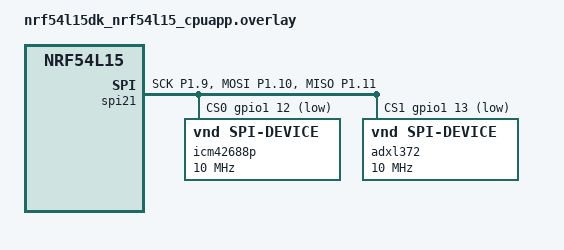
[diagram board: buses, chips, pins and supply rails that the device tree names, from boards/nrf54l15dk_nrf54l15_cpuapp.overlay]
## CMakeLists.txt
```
cmake_minimum_required(VERSION 3.20.0)
find_package(Zephyr REQUIRED HINTS $ENV{ZEPHYR_BASE})
project(spoton)

target_sources(app PRIVATE
    src/main.c
)
```

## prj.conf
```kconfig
# SpotOn — Phase 0 Configuration
# Target: nRF54L15-DK

# Logging
CONFIG_LOG=y
CONFIG_LOG_DEFAULT_LEVEL=3
CONFIG_LOG_BACKEND_UART=y

# GPIO (LED)
CONFIG_GPIO=y

# SPI (dual sensor bus — ICM-42688-P + ADXL372)
CONFIG_SPI=y
```

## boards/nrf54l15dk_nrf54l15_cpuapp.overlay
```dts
/*
 * SpotOn — Phase 0 Device Tree Overlay
 * Board: nRF54L15-DK (nrf54l15dk/nrf54l15/cpuapp)
 *
 * SPI bus: SPIM21 on Port 1 (avoids UART20 conflict on SPIM20,
 *          avoids QSPI flash solder bridges on Port 2/SPIM00)
 *
 * Pin assignments (from Nordic DevZone validated examples):
 *   SCK  = P1.09  (clock pin for SPIM21 — validated from Nordic DevZone example)
 *   MOSI = P1.10
 *   MISO = P1.11
 *   CS0  = P1.12  (ICM-42688-P)
 *   CS1  = P1.13  (ADXL372)
 *
 * Interrupts:
 *   INT0 = P1.14  (ICM-42688-P INT1 — FIFO watermark)
 *   INT1 = P1.15  (ADXL372 INT1 — FIFO watermark)
 *
 * LED: uses DK onboard LED0 (already defined in DK devicetree)
 *
 * SPI Mode 0 (CPOL=0, CPHA=0) — compatible with both sensors.
 * Bus speed: 10MHz (limited by ADXL372 max SPI speed).
 *
 * TODO(Phase 0 bring-up): Verify actual SPI clock with logic analyzer.
 *   If SPIM21 cannot achieve 10MHz on Port 1, move to SPIM20 on Port 0
 *   (requires disabling UART20 or remapping console to different peripheral).
 */

&pinctrl {
	spi21_default: spi21_default {
		group1 {
			psels = <NRF_PSEL(SPIM_SCK, 1, 9)>,
				<NRF_PSEL(SPIM_MOSI, 1, 10)>,
				<NRF_PSEL(SPIM_MISO, 1, 11)>;
		};
	};

	spi21_sleep: spi21_sleep {
		group1 {
			psels = <NRF_PSEL(SPIM_SCK, 1, 9)>,
				<NRF_PSEL(SPIM_MOSI, 1, 10)>,
				<NRF_PSEL(SPIM_MISO, 1, 11)>;
			low-power-enable;
		};
	};
};

&spi21 {
	compatible = "nordic,nrf-spim";
	status = "okay";
	pinctrl-0 = <&spi21_default>;
	pinctrl-1 = <&spi21_sleep>;
	pinctrl-names = "default", "sleep";
	cs-gpios = <&gpio1 12 GPIO_ACTIVE_LOW>,   /* CS0: ICM-42688-P */
		   <&gpio1 13 GPIO_ACTIVE_LOW>;   /* CS1: ADXL372 */

	/* ICM-42688-P — 6-axis IMU (vibration analysis + gyro)
	 * Raw SPI (Option A): Zephyr driver not used due to FIFO bugs (#84833)
	 * and missing AAF Bank 2 configuration support. */
	icm42688p: icm42688p@0 {
		compatible = "vnd,spi-device";
		reg = <0>;
		spi-max-frequency = <10000000>;
	};

	/* ADXL372 — High-g accelerometer (impact capture)
	 * Raw SPI (Option A): Zephyr driver lacks FIFO watermark trigger. */
	adxl372: adxl372@1 {
		compatible = "vnd,spi-device";
		reg = <1>;
		spi-max-frequency = <10000000>;
	};
};
```

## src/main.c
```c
/*
 * SpotOn — Main Entry Point (Phase 0)
 *
 * Phase 0: Blinky + log output to verify toolchain and DK connection.
 * Future phases add sensor threads, ML, state machine, BLE.
 */

#include <zephyr/kernel.h>
#include <zephyr/device.h>
#include <zephyr/drivers/gpio.h>
#include <zephyr/logging/log.h>

#include "config.h"

LOG_MODULE_REGISTER(spoton, LOG_LEVEL_INF);

/* LED0 from devicetree (DK onboard LED) */
static const struct gpio_dt_spec led = GPIO_DT_SPEC_GET(DT_ALIAS(led0), gpios);

int main(void)
{
	int ret;

	LOG_INF("SpotOn Phase 0 — project scaffold");
	LOG_INF("Board: %s", CONFIG_BOARD_TARGET);

	/* Init LED */
	if (!gpio_is_ready_dt(&led)) {
		LOG_ERR("LED device not ready");
		return -ENODEV;
	}

	ret = gpio_pin_configure_dt(&led, GPIO_OUTPUT_ACTIVE);
	if (ret < 0) {
		LOG_ERR("Failed to configure LED: %d", ret);
		return ret;
	}

	LOG_INF("LED initialized, starting blink loop");

	/* Blink loop — confirms DK is alive and serial output works */
	while (1) {
		gpio_pin_toggle_dt(&led);
		k_sleep(K_MSEC(500));
	}

	return 0;
}
```

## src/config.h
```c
/*
 * SpotOn — Project Configuration
 *
 * Constants, thresholds, and compile-time configuration.
 * Hardware-specific values (pins, peripherals) are in the device tree overlay.
 */

#ifndef SPOTON_CONFIG_H
#define SPOTON_CONFIG_H

/* Sensor ODR */
#define SPOTON_SENSOR_ODR_HZ        800

/* Impact detection */
#define SPOTON_IMPACT_THRESHOLD_MG  30000   /* 30g — ADXL372 threshold */
#define SPOTON_IMPACT_DEBOUNCE_MS   500     /* Ignore impacts within this window */

/* State machine timeouts */
#define SPOTON_ARMED_TIMEOUT_MS     (2 * 60 * 1000)   /* 2 min no impact → SLEEP */
#define SPOTON_ACTIVE_TIMEOUT_MS    (5 * 60 * 1000)   /* 5 min no impact → end session */

/* SPI bus speed (limited by ADXL372 max 10MHz) */
#define SPOTON_SPI_FREQ_HZ          10000000

/* ICM-42688-P registers (Bank 0) */
#define ICM42688_REG_WHO_AM_I       0x75
#define ICM42688_WHO_AM_I_VALUE     0x47
#define ICM42688_REG_PWR_MGMT0     0x4E
#define ICM42688_REG_GYRO_CONFIG0  0x4F
#define ICM42688_REG_ACCEL_CONFIG0 0x50
#define ICM42688_REG_FIFO_CONFIG   0x16
#define ICM42688_REG_FIFO_CONFIG1  0x5F
#define ICM42688_REG_INT_STATUS    0x2D
#define ICM42688_REG_FIFO_COUNTH   0x2E
#define ICM42688_REG_FIFO_COUNTL   0x2F
#define ICM42688_REG_FIFO_DATA     0x30
#define ICM42688_REG_BANK_SEL      0x76

/* ADXL372 registers */
#define ADXL372_REG_DEVID_AD       0x00
#define ADXL372_DEVID_AD_VALUE     0xAD
#define ADXL372_REG_DEVID_MST      0x01
#define ADXL372_REG_PARTID         0x02
#define ADXL372_PARTID_VALUE       0xFA
#define ADXL372_REG_STATUS         0x04
#define ADXL372_REG_FIFO_CTL       0x3A
#define ADXL372_REG_TIMING         0x3D
#define ADXL372_REG_MEASURE        0x3F

#endif /* SPOTON_CONFIG_H */
```

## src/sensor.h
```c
/*
 * SpotOn — Dual Sensor Driver (Raw SPI)
 *
 * ICM-42688-P (6-axis IMU) + ADXL372 (high-g accelerometer)
 * Both on shared SPI bus (SPIM21), separate CS lines.
 *
 * Architecture: Raw SPI register access (Option A).
 * Zephyr upstream drivers not used because:
 *   - ADXL372 driver lacks FIFO watermark trigger
 *   - ICM42688 driver has known bugs (#84833, #88846)
 *   - ICM42688 AAF Bank 2 config not supported by driver
 */

#ifndef SPOTON_SENSOR_H
#define SPOTON_SENSOR_H

#include <zephyr/kernel.h>
#include <zephyr/device.h>
#include <zephyr/drivers/spi.h>
#include <zephyr/drivers/gpio.h>

/* ICM-42688-P FIFO packet (16-bit mode, accel+gyro+header) */
struct icm42688_fifo_packet {
	uint8_t header;
	int16_t accel[3];   /* XYZ, ±16g, 2048 LSB/g */
	int16_t gyro[3];    /* XYZ, ±2000dps, 16.4 LSB/dps */
	uint8_t temp;       /* Temperature (optional, verify DS-000347 §5.2) */
} __packed;

/* ADXL372 FIFO sample (3-axis, normal mode) */
struct adxl372_fifo_sample {
	int16_t accel[3];   /* XYZ, ±200g, 100mg/LSB */
} __packed;

/*
 * Sensor initialization.
 * Configures SPI bus, reads WHO_AM_I/DEVID, sets ODR/range/FIFO/AAF.
 * Returns 0 on success, negative errno on failure.
 */
int sensor_init(void);

/*
 * ICM-42688-P operations.
 */
int icm42688_read_reg(uint8_t reg, uint8_t *val);
int icm42688_write_reg(uint8_t reg, uint8_t val);
int icm42688_read_who_am_i(uint8_t *id);
int icm42688_configure(void);          /* ODR, range, FIFO, AAF */
int icm42688_read_fifo_count(uint16_t *count);
int icm42688_read_fifo(struct icm42688_fifo_packet *buf, uint16_t max_packets,
		       uint16_t *packets_read);

/*
 * ADXL372 operations.
 */
int adxl372_read_reg(uint8_t reg, uint8_t *val);
int adxl372_write_reg(uint8_t reg, uint8_t val);
int adxl372_read_devid(uint8_t *id);
int adxl372_configure(void);           /* ODR, bandwidth, FIFO, normal mode */
int adxl372_read_fifo_count(uint16_t *count);
int adxl372_read_fifo(struct adxl372_fifo_sample *buf, uint16_t max_samples,
		      uint16_t *samples_read);

/*
 * Interrupt status checks (called from sensor_thread after semaphore wake).
 */
bool icm42688_fifo_overflow(void);
bool adxl372_fifo_overflow(void);

/*
 * FIFO flush (call after overflow detected).
 */
int icm42688_fifo_flush(void);
int adxl372_fifo_flush(void);

#endif /* SPOTON_SENSOR_H */
```
